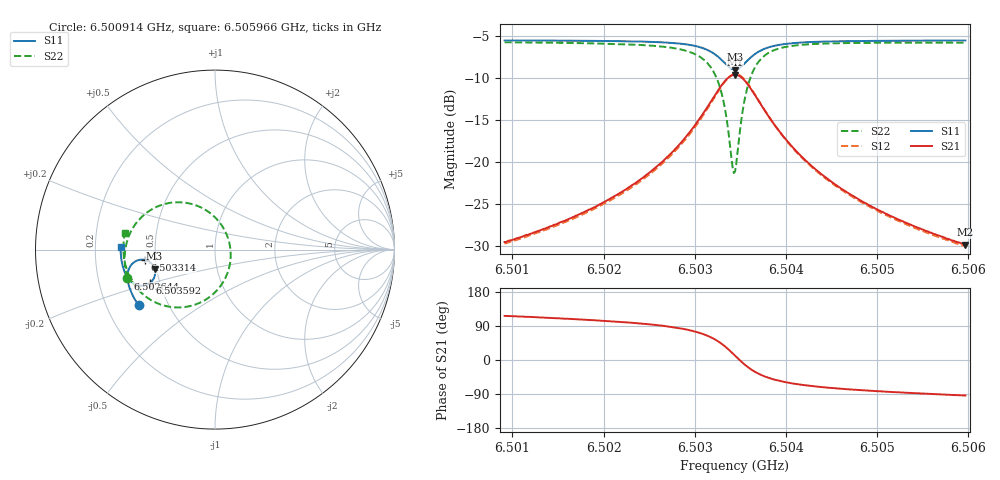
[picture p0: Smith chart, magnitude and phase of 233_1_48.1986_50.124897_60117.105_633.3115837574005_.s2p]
#  HZ  S  RI  R  50.00
! Rohde & Schwarz Vector Network Analyzer
! Rohde-Schwarz,ZNB20-2Port,1311601062101988,3.16
! Created: UTC 3/20/2024, 11:46:31 AM
! freq[Hz]  re:S11  im:S11  re:S21  im:S21  re:S12  im:S12  re:S22  im:S22
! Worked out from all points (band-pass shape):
!   401 points, 6.500914 GHz to 6.505966 GHz, reference 50 ohm
!   highest |S21| = -9.63 dB at 6.50344 GHz (marker M1); lowest = -29.8 dB at 6.505966 GHz (marker M2)
!   |S21| within 3 dB of the highest: 6.503187 GHz to 6.503693 GHz (505.5 kHz wide, 0.00777 % of centre)
!   lowest |S11| = -9.0 dB at 6.50344 GHz (marker M3), VSWR 2.09, Z = 24.3 - j5.95 ohm
!   |S11| at or under -10 dB: nowhere
!   |S22| runs from -21.3 to -5.8 dB; largest |S21 - S12| = 0.011
!   S11 on the Smith chart (normalised r, x): 6.500914 GHz: 0.34, -0.29; 6.502644 GHz: 0.33, -0.14; 6.503314 GHz: 0.44, -0.06; 6.503592 GHz: 0.44, -0.20; 6.505966 GHz: 0.31, +0.01
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6.500914e9  -0.4246 -0.3113  -0.0148 0.03  -0.0133 0.03  -0.489 -0.1573
6.5017602e9  -0.4612 -0.2491  -0.0144 0.0475  -0.0119 0.0471  -0.5028 -0.0678
6.5022023e9  -0.477 -0.2104  -0.0117 0.0655  -0.00876 0.0644  -0.5003 -0.00593
6.5026065e9  -0.4868 -0.1661  -0.00238 0.0964  0.00118 0.094  -0.4806 0.0735
6.5026444e9  -0.4873 -0.1613  -0.000581 0.1005  0.0031 0.098  -0.4766 0.0829
6.5029223e9  -0.4834 -0.1183  0.0262 0.143  0.0297 0.1385  -0.4212 0.169
6.5031117e9  -0.4621 -0.0802  0.0802 0.185  0.0827 0.1788  -0.3175 0.2415
6.5032254e9  -0.4294 -0.0595  0.1495 0.2026  0.1504 0.1962  -0.1927 0.2635
6.5033138e9  -0.3891 -0.0579  0.2292 0.1861  0.2295 0.181  -0.0553 0.2226
6.5033517e9  -0.3698 -0.0656  0.2656 0.1628  0.2663 0.1584  0.0047 0.1753
6.5034149e9  -0.343 -0.0926  0.313 0.0985  0.3157 0.0936  0.0765 0.0514
6.5034401e9  -0.3368 -0.1071  0.3232 0.066  0.3263 0.0604  0.0871 -0.009
6.5034654e9  -0.3338 -0.123  0.3267 0.0324  0.3301 0.0254  0.0849 -0.0706
6.5035285e9  -0.3411 -0.1602  0.3082 -0.0457  0.3101 -0.0557  0.0283 -0.2061
6.5035917e9  -0.3625 -0.1861  0.2649 -0.0997  0.2637 -0.1109  -0.0689 -0.2887
6.5036927e9  -0.402 -0.2013  0.19 -0.1356  0.1846 -0.1451  -0.2195 -0.3221
6.5038569e9  -0.4481 -0.1915  0.1084 -0.1322  0.1013 -0.1372  -0.3665 -0.275
6.5040338e9  -0.4755 -0.1701  0.0639 -0.1121  0.0577 -0.1144  -0.4385 -0.2099
6.5042864e9  -0.4962 -0.1403  0.0339 -0.0878  0.0292 -0.0882  -0.4819 -0.1377
6.5046653e9  -0.5118 -0.1008  0.0148 -0.0645  0.0115 -0.0642  -0.5042 -0.0629
6.5051326e9  -0.5212 -0.0576  0.00497 -0.0479  0.00282 -0.0473  -0.5103 0.00303
6.5059662e9  -0.5259 0.0128  -0.00215 -0.0322  -0.00336 -0.0314  -0.5024 0.091
